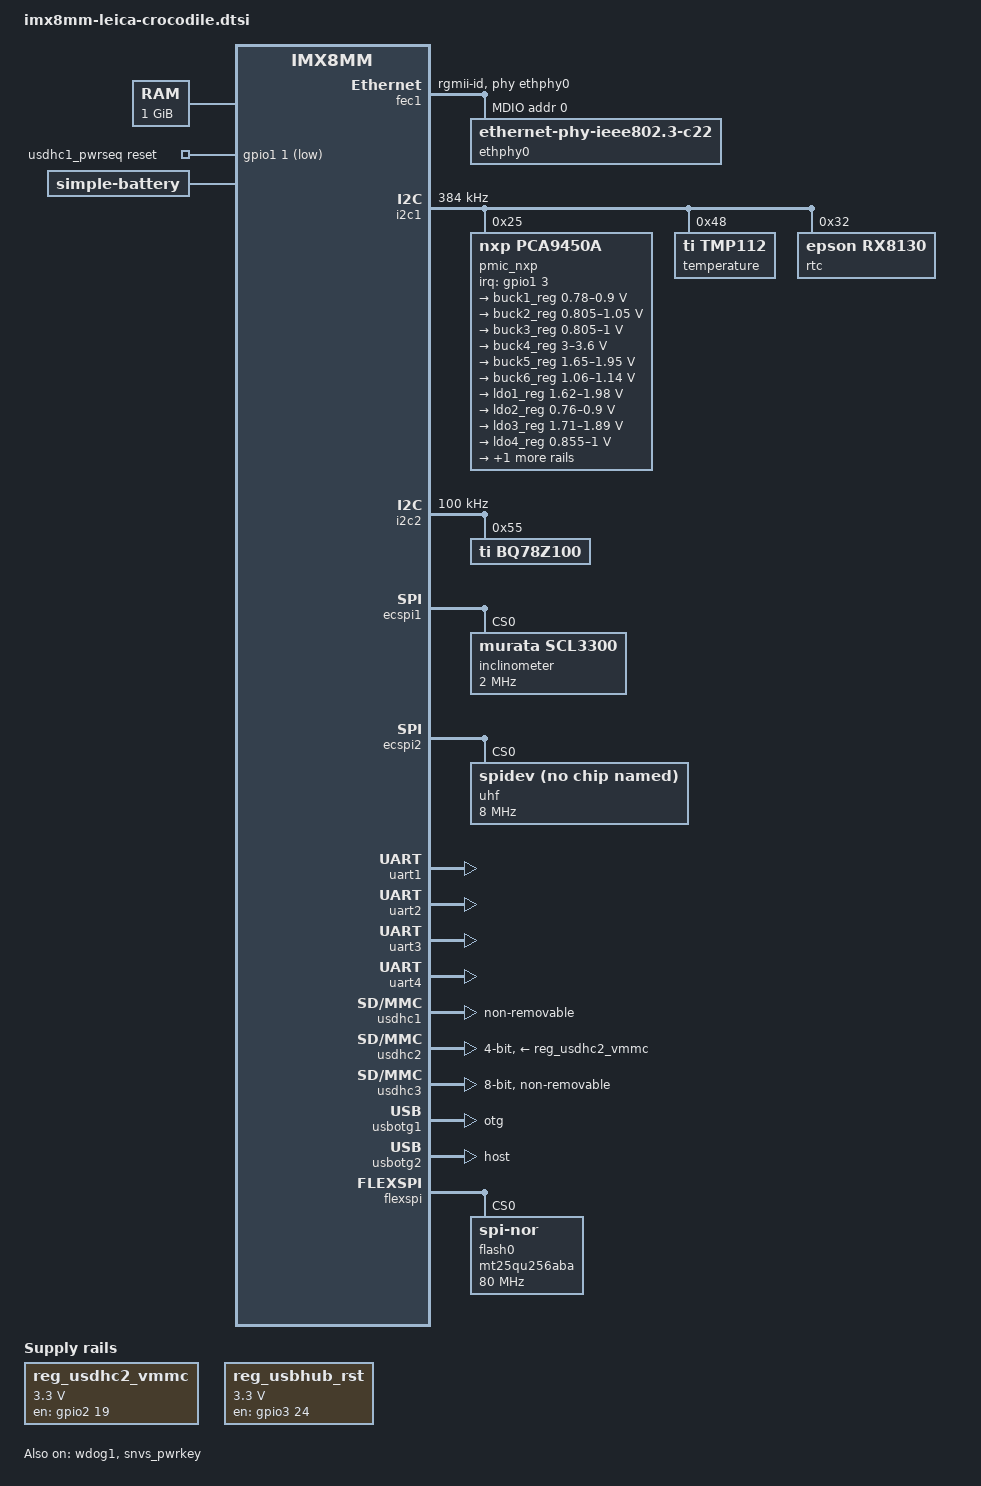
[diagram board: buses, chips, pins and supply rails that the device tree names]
// SPDX-License-Identifier: (GPL-2.0+ OR MIT)
/*
 * Copyright 2020 NXP
 * Copyright (C) 2021 Leica Geosystems AG
 */

/dts-v1/;

#include <dt-bindings/usb/pd.h>
#include "imx8mm.dtsi"

/ {
	compatible = "leica,crocodile", "fsl,imx8mm";

	chosen {
		stdout-path = &uart3;
	};

	memory@40000000 {
		device_type = "memory";
		reg = <0x0 0x40000000 0 0x40000000>;
	};

	reg_usdhc2_vmmc: regulator-usdhc2 {
		compatible = "regulator-fixed";
		pinctrl-names = "default";
		pinctrl-0 = <&pinctrl_reg_usdhc2_vmmc>;
		regulator-name = "VSD_3V3";
		regulator-min-microvolt = <3300000>;
		regulator-max-microvolt = <3300000>;

		/* CROCODILE_IMX8_SD2_RSTX */
		gpio = <&gpio2 19 GPIO_ACTIVE_HIGH>;

		enable-active-high;
	};

	reg_usbhub_rst: regulator-usbhub {
		compatible = "regulator-fixed";
		pinctrl-names = "default";
		pinctrl-0 = <&pinctrl_usbhub>;
		regulator-name = "USBHUB_RST_N";
		regulator-min-microvolt = <3300000>;
		regulator-max-microvolt = <3300000>;

		/* CROCODILE_MX8_USBHUB_RESETN */
		gpio = <&gpio3 24 GPIO_ACTIVE_HIGH>;
		regulator-always-on;
		enable-active-high;
	};

	usdhc1_pwrseq: usdhc1_pwrseq {
		compatible = "mmc-pwrseq-simple";

		/* CROCODILE_WIFIBT_PWR_DOWN */
		reset-gpios = <&gpio1 1 GPIO_ACTIVE_LOW>;
	};

	bat: internal-battery {
		compatible = "simple-battery";
		energy-full-design-microwatt-hours = <24840000>;
		charge-full-design-microamp-hours = <14450000>;
		voltage-min-design-microvolt = <2500000>;
		voltage-max-design-microvolt = <4200000>;
		charge-term-current-microamp = <150000>;
		constant-charge-current-max-microamp = <3400000>;
		constant-charge-voltage-max-microvolt = <4200000>;
		factory-internal-resistance-micro-ohms = <35>;
	};
};

&A53_0 {
	cpu-supply = <&buck2_reg>;
};

&A53_1 {
	cpu-supply = <&buck2_reg>;
};

&A53_2 {
	cpu-supply = <&buck2_reg>;
};

&A53_3 {
	cpu-supply = <&buck2_reg>;
};

&a53_opp_table {
	       /delete-node/ opp-1600000000;
	       /delete-node/ opp-1800000000;
};

&ddrc {
	operating-points-v2 = <&ddrc_opp_table>;

	ddrc_opp_table: opp-table {
		compatible = "operating-points-v2";

		opp-25M {
			opp-hz = /bits/ 64 <25000000>;
		};

		opp-100M {
			opp-hz = /bits/ 64 <100000000>;
		};

		opp-750M {
			opp-hz = /bits/ 64 <750000000>;
		};
	};
};

&fec1 {
	pinctrl-names = "default";
	pinctrl-0 = <&pinctrl_fec1>;
	phy-mode = "rgmii-id";
	phy-handle = <&ethphy0>;
	fsl,magic-packet;
	status = "okay";

	mdio {
		#address-cells = <1>;
		#size-cells = <0>;

		ethphy0: ethernet-phy@0 {
			compatible = "ethernet-phy-ieee802.3-c22";
			reg = <0>;
		};
	};
};

&i2c1 {
	clock-frequency = <384000>;
	pinctrl-names = "default";
	pinctrl-0 = <&pinctrl_i2c1>;
	status = "okay";

	pmic_nxp: pca9450@25 {
		compatible = "nxp,pca9450a";
		reg = <0x25>;
		pinctrl-0 = <&pinctrl_pmic>;
		pinctrl-names = "default";
		interrupt-parent = <&gpio1>;
		interrupts = <3 IRQ_TYPE_LEVEL_LOW>;

		regulators {
			// VDD_SOC_0V8
			buck1_reg: BUCK1 {
				regulator-name = "BUCK1";
				regulator-min-microvolt = <780000>;
				regulator-max-microvolt = <900000>;
				regulator-boot-on;
				regulator-always-on;
				regulator-ramp-delay = <3125>;
				nxp,dvs-standby-voltage = <800000>;
			};

			// VDD_ARM_0V9
			buck2_reg: BUCK2 {
				regulator-name = "BUCK2";
				regulator-min-microvolt = <805000>;
				regulator-max-microvolt = <1050000>;
				regulator-boot-on;
				regulator-always-on;
				regulator-ramp-delay = <3125>;
			};

			// VDD_DRAM&PU_0V9
			buck3_reg: BUCK3 {
				regulator-name = "BUCK3";
				regulator-min-microvolt = <805000>;
				regulator-max-microvolt = <1000000>;
				regulator-boot-on;
				regulator-always-on;
			};

			// VDD_3V3/NVCC_3V3
			buck4_reg: BUCK4 {
				regulator-name = "BUCK4";
				regulator-min-microvolt = <3000000>;
				regulator-max-microvolt = <3600000>;
				regulator-boot-on;
				regulator-always-on;
			};

			// VDD_1V8/NVCC_1V8
			buck5_reg: BUCK5 {
				regulator-name = "BUCK5";
				regulator-min-microvolt = <1650000>;
				regulator-max-microvolt = <1950000>;
				regulator-boot-on;
				regulator-always-on;
			};

			// NVCC_DRAM_1V1
			buck6_reg: BUCK6 {
				regulator-name = "BUCK6";
				regulator-min-microvolt = <1060000>;
				regulator-max-microvolt = <1140000>;
				regulator-boot-on;
				regulator-always-on;
			};

			// NVCC_SNVS_1V8
			ldo1_reg: LDO1 {
				regulator-name = "LDO1";
				regulator-min-microvolt = <1620000>;
				regulator-max-microvolt = <1980000>;
				regulator-boot-on;
				regulator-always-on;
			};

			// VDD_SNVS_0V8
			ldo2_reg: LDO2 {
				regulator-name = "LDO2";
				regulator-min-microvolt = <760000>;
				regulator-max-microvolt = <900000>;
				regulator-boot-on;
				regulator-always-on;
			};

			// VDDA_1V8
			ldo3_reg: LDO3 {
				regulator-name = "LDO3";
				regulator-min-microvolt = <1710000>;
				regulator-max-microvolt = <1890000>;
				regulator-boot-on;
				regulator-always-on;
			};

			// VDD_PHY_0V9
			ldo4_reg: LDO4 {
				regulator-name = "LDO4";
				regulator-min-microvolt = <855000>;
				regulator-max-microvolt = <1000000>;
				regulator-boot-on;
				regulator-always-on;
			};

			// NVCC_SD2
			ldo5_reg: LDO5 {
				regulator-name = "LDO5";
				regulator-min-microvolt = <1650000>;
				regulator-max-microvolt = <3600000>;
			};
		};
	};

	temperature: tmp112-sensor@48{
		compatible = "ti,tmp112";
		reg = <0x48>;
	};

	rtc@32 {
		compatible = "epson,rx8130";
		reg = <0x32>;
		aux-voltage-chargeable = <0>;
		wakeup-source;
	};
};

&i2c2 {
	clock-frequency = <100000>;
	pinctrl-names = "default";
	pinctrl-0 = <&pinctrl_i2c2>;
	status = "okay";

	bq78z100: fuel-gauge@55{
		compatible = "ti,bq78z100";
		reg = <0x55>;
		battery-name = "battery";
		monitored-battery = <&bat>;
	};
};

&ecspi1 {
	fsl,spi-num-chipselects = <1>;
	cs-gpios = <0>;
	pinctrl-names = "default";
	pinctrl-0 = <&pinctrl_ecspi1>;
	status = "okay";

	inclinometer@0 {
		compatible = "murata,scl3300";
		spi-max-frequency = <2000000>;
		reg = <0>;
	};
};

&ecspi2 {
	fsl,spi-num-chipselects = <1>;
	cs-gpios = <0>;
	pinctrl-names = "default";
	pinctrl-0 = <&pinctrl_ecspi2>;
	status = "okay";

	uhf@0 {
		compatible = "leica,spidev";
		spi-max-frequency = <8000000>;
		reg = <0>;
	};
};

/* GNSS module */
&uart1 {
	pinctrl-names = "default";
	pinctrl-0 = <&pinctrl_uart1>;
	status = "okay";
};

/* WiFi/BLE module */
&uart2 {
	pinctrl-names = "default";
	pinctrl-0 = <&pinctrl_uart2>;
	dmas = <&sdma1 24 4 0>, <&sdma1 25 4 0>;
	dma-names = "rx", "tx";
	assigned-clocks = <&clk IMX8MM_CLK_UART2>;
	assigned-clock-parents = <&clk IMX8MM_SYS_PLL1_80M>;
	uart-has-rtscts;
	status = "okay";
};

/* console */
&uart3 {
	pinctrl-names = "default";
	pinctrl-0 = <&pinctrl_uart3>;
	/delete-property/ dmas;
	/delete-property/ dma-names;
	status = "okay";
};

/* PP4 */
&uart4 {
	pinctrl-names = "default";
	pinctrl-0 = <&pinctrl_uart4>;
	status = "okay";
};

&usdhc1 {
	#address-cells = <1>;
	#size-cells = <0>;
	assigned-clocks = <&clk IMX8MM_CLK_USDHC1_ROOT>;
	assigned-clock-rates = <200000000>;
	pinctrl-names = "default";
	pinctrl-0 = <&pinctrl_usdhc1>;
	pinctrl-1 = <&pinctrl_usdhc1_100mhz>;
	pinctrl-2 = <&pinctrl_usdhc1_200mhz>;
	no-sd;
	non-removable;
	mmc-pwrseq = <&usdhc1_pwrseq>;
	status = "okay";
};

&usdhc2 { /* SD card */
	assigned-clocks = <&clk IMX8MM_CLK_USDHC2>;
	assigned-clock-rates = <200000000>;
	pinctrl-names = "default", "state_100mhz", "state_200mhz";
	pinctrl-0 = <&pinctrl_usdhc2>, <&pinctrl_usdhc2_gpio>;
	pinctrl-1 = <&pinctrl_usdhc2_100mhz>, <&pinctrl_usdhc2_gpio>;
	pinctrl-2 = <&pinctrl_usdhc2_200mhz>, <&pinctrl_usdhc2_gpio>;
	bus-width = <4>;
	vmmc-supply = <&reg_usdhc2_vmmc>;
	status = "okay";
};

&usdhc3 { /* eMMC */
	assigned-clocks = <&clk IMX8MM_CLK_USDHC3_ROOT>;
	assigned-clock-rates = <400000000>;
	pinctrl-names = "default", "state_100mhz", "state_200mhz";
	pinctrl-0 = <&pinctrl_usdhc3>;
	pinctrl-1 = <&pinctrl_usdhc3_100mhz>;
	pinctrl-2 = <&pinctrl_usdhc3_200mhz>;
	bus-width = <8>;
	non-removable;
	status = "okay";
};

&usbotg1 {
	dr_mode = "otg";
	disable-over-current;
	samsung,picophy-pre-emp-curr-control = <3>;
	samsung,picophy-dc-vol-level-adjust = <7>;
	ci-disable-lpm;
	status = "okay";
};

&usbotg2 {
	dr_mode = "host";
	disable-over-current;
	status = "okay";
};

&flexspi {
	pinctrl-names = "default";
	pinctrl-0 = <&pinctrl_flexspi0>;
	status = "okay";

	flash0: mt25qu256aba@0 {
		reg = <0>;
		#address-cells = <1>;
		#size-cells = <1>;
		compatible = "jedec,spi-nor";
		spi-max-frequency = <80000000>;
		spi-tx-bus-width = <4>;
		spi-rx-bus-width = <4>;
	};
};

&wdog1 {
	pinctrl-names = "default";
	pinctrl-0 = <&pinctrl_wdog>;
	fsl,ext-reset-output;
	status = "okay";
};

&snvs_pwrkey {
	status = "okay";
};

&gpio1 {
	gpio-line-names =
		"",
		"WIFIBT_PWR_DOWN",
		"", "", "", "", "",
		"", "", "",
		"IMX8_CPU_RDY",
		"", "",
		"IMX8_USB1_OC_SOURCEx",
		"",
		"IMX8_USB1_OC_SINKx";
};

&gpio2 {
	gpio-line-names =
		"", "", "", "", "",
		"", "", "", "", "",
		"", "", "", "", "",
		"", "", "", "", "",
		"LTE_EMERG_RST";
};

&gpio3 {
	gpio-line-names =
		"", "", "", "", "",
		"", "", "", "", "",
		"", "", "", "", "",
		"", "", "", "",
		"GNSS_RSTx",
		"LTE_ONx",
		"GNSS_EXTINT",
		"UHF_SDN",
		"UHF_GPIO_0",
		"",
		"LTE_FST_SHDN";
};

/* Used in M4 */
&gpio4 {
	status = "disabled";
};

/* Used in M4 */
&gpio5 {
	status = "disabled";
};

&iomuxc {
	pinctrl-names = "default";
	pinctrl-0 = <&pinctrl_gpio>;

	pinctrl_fec1: fec1grp {
		fsl,pins = <
			MX8MM_IOMUXC_ENET_MDC_ENET1_MDC		0x3	/*CROCODILE_ENET_MDC*/
			MX8MM_IOMUXC_ENET_MDIO_ENET1_MDIO		0x3	/*CROCODILE_ENET_MDIO*/
			MX8MM_IOMUXC_ENET_TD3_ENET1_RGMII_TD3		0x1f	/*CROCODILE_ENET_TD3*/
			MX8MM_IOMUXC_ENET_TD2_ENET1_RGMII_TD2		0x1f	/*CROCODILE_ENET_TD2*/
			MX8MM_IOMUXC_ENET_TD1_ENET1_RGMII_TD1		0x1f	/*CROCODILE_ENET_TD1*/
			MX8MM_IOMUXC_ENET_TD0_ENET1_RGMII_TD0		0x1f	/*CROCODILE_ENET_TD0*/
			MX8MM_IOMUXC_ENET_RD3_ENET1_RGMII_RD3		0x91	/*CROCODILE_ENET_RD3*/
			MX8MM_IOMUXC_ENET_RD2_ENET1_RGMII_RD2		0x91	/*CROCODILE_ENET_RD2*/
			MX8MM_IOMUXC_ENET_RD1_ENET1_RGMII_RD1		0x91	/*CROCODILE_ENET_RD1*/
			MX8MM_IOMUXC_ENET_RD0_ENET1_RGMII_RD0		0x91	/*CROCODILE_ENET_RD0*/
			MX8MM_IOMUXC_ENET_TXC_ENET1_RGMII_TXC		0x1f	/*CROCODILE_ENET_TXC*/
			MX8MM_IOMUXC_ENET_RXC_ENET1_RGMII_RXC		0x91	/*CROCODILE_ENET_RXC*/
			MX8MM_IOMUXC_ENET_RX_CTL_ENET1_RGMII_RX_CTL		0x91	/*CROCODILE_ENET_RX_CTL*/
			MX8MM_IOMUXC_ENET_TX_CTL_ENET1_RGMII_TX_CTL		0x1f	/*CROCODILE_ENET_TX_CTL*/
			MX8MM_IOMUXC_SAI1_TXFS_GPIO4_IO10		0x19	/*CROCODILE_DBG_ENET_RSTX*/
		>;
	};

	/*
	 * Reserved bit 30 in value for Pad Control Register is used to set
	 * SION (bit 4) in Pad Mux Register.
	 * Setting SION to "1" forces the input path to be active regardless
	 * of the value driven by the corresponding module and is required for
	 * I2C.
	 */

	pinctrl_i2c1: i2c1grp {
		fsl,pins = <
			MX8MM_IOMUXC_I2C1_SCL_I2C1_SCL	0x400001c3	/*CROCODILE_IMX8_I2C_1_SCL*/
			MX8MM_IOMUXC_I2C1_SDA_I2C1_SDA	0x400001c3	/*CROCODILE_IMX8_I2C_1_SDA*/
		>;
	};

	pinctrl_i2c2: i2c2grp {
		fsl,pins = <
			MX8MM_IOMUXC_I2C2_SCL_I2C2_SCL	0x400001c0	/*CROCODILE_IMX8_I2C_2_SCL*/
			MX8MM_IOMUXC_I2C2_SDA_I2C2_SDA	0x400001c0	/*CROCODILE_IMX8_I2C_2_SDA*/
		>;
	};

	pinctrl_ecspi1: ecspi1grp {
		fsl,pins = <
			MX8MM_IOMUXC_ECSPI1_MISO_ECSPI1_MISO	0x0	/*CROCODILE_IMX8_ECSPI1_MISO*/
			MX8MM_IOMUXC_ECSPI1_MOSI_ECSPI1_MOSI	0x0	/*CROCODILE_IMX8_ECSPI1_MOSI*/
			MX8MM_IOMUXC_ECSPI1_SCLK_ECSPI1_SCLK	0x0	/*CROCODILE_IMX8_ECSPI1_SCLK*/
			MX8MM_IOMUXC_ECSPI1_SS0_ECSPI1_SS0	0x0	/*CROCODILE_IMX8_ECSPI1_SS0*/
		>;
	};

	pinctrl_ecspi2: ecspi2grp {
		fsl,pins = <
			MX8MM_IOMUXC_ECSPI2_MISO_ECSPI2_MISO	0x0	/*CROCODILE_IMX8_ECSPI2_MISO*/
			MX8MM_IOMUXC_ECSPI2_MOSI_ECSPI2_MOSI	0x0	/*CROCODILE_IMX8_ECSPI2_MOSI*/
			MX8MM_IOMUXC_ECSPI2_SCLK_ECSPI2_SCLK	0x0	/*CROCODILE_IMX8_ECSPI2_SCLK*/
			MX8MM_IOMUXC_ECSPI2_SS0_ECSPI2_SS0	0x0	/*CROCODILE_IMX8_ECSPI2_SS0*/
		>;
	};

	pinctrl_pmic: pmicirqgrp {
		fsl,pins = <
			MX8MM_IOMUXC_GPIO1_IO03_GPIO1_IO3		0x141	/*CROCODILE_PMIC_NINT*/
		>;
	};

	pinctrl_usdhc1: usdhc1grp {
		fsl,pins = <
			MX8MM_IOMUXC_SD1_CLK_USDHC1_CLK		0x190	/*CROCODILE_IMX8_SD1_CLK*/
			MX8MM_IOMUXC_SD1_CMD_USDHC1_CMD		0x1d0	/*CROCODILE_IMX8_SD1_CMD*/
			MX8MM_IOMUXC_SD1_DATA0_USDHC1_DATA0		0x1d0	/*CROCODILE_IMX8_SD1_DATA0*/
			MX8MM_IOMUXC_SD1_DATA1_USDHC1_DATA1		0x1d0	/*CROCODILE_IMX8_SD1_DATA1*/
			MX8MM_IOMUXC_SD1_DATA2_USDHC1_DATA2		0x1d0	/*CROCODILE_IMX8_SD1_DATA2*/
			MX8MM_IOMUXC_SD1_DATA3_USDHC1_DATA3		0x1d0	/*CROCODILE_IMX8_SD1_DATA3*/
		>;
	};

	pinctrl_usdhc1_100mhz: usdhc1-100mhzgrp {
		fsl,pins = <
			MX8MM_IOMUXC_SD1_CLK_USDHC1_CLK		0x194	/*CROCODILE_IMX8_SD1_CLK*/
			MX8MM_IOMUXC_SD1_CMD_USDHC1_CMD		0x1d4	/*CROCODILE_IMX8_SD1_CMD*/
			MX8MM_IOMUXC_SD1_DATA0_USDHC1_DATA0		0x1d4	/*CROCODILE_IMX8_SD1_DATA0*/
			MX8MM_IOMUXC_SD1_DATA1_USDHC1_DATA1		0x1d4	/*CROCODILE_IMX8_SD1_DATA1*/
			MX8MM_IOMUXC_SD1_DATA2_USDHC1_DATA2		0x1d4	/*CROCODILE_IMX8_SD1_DATA2*/
			MX8MM_IOMUXC_SD1_DATA3_USDHC1_DATA3		0x1d4	/*CROCODILE_IMX8_SD1_DATA3*/
		>;
	};

	pinctrl_usdhc1_200mhz: usdhc1-200mhzgrp {
		fsl,pins = <
			MX8MM_IOMUXC_SD1_CLK_USDHC1_CLK		0x196	/*CROCODILE_IMX8_SD1_CLK*/
			MX8MM_IOMUXC_SD1_CMD_USDHC1_CMD		0x1d6	/*CROCODILE_IMX8_SD1_CMD*/
			MX8MM_IOMUXC_SD1_DATA0_USDHC1_DATA0		0x1d6	/*CROCODILE_IMX8_SD1_DATA0*/
			MX8MM_IOMUXC_SD1_DATA1_USDHC1_DATA1		0x1d6	/*CROCODILE_IMX8_SD1_DATA1*/
			MX8MM_IOMUXC_SD1_DATA2_USDHC1_DATA2		0x1d6	/*CROCODILE_IMX8_SD1_DATA2*/
			MX8MM_IOMUXC_SD1_DATA3_USDHC1_DATA3		0x1d6	/*CROCODILE_IMX8_SD1_DATA3*/
			>;
		};

	pinctrl_reg_usdhc2_vmmc: regusdhc2vmmcgrp {
		fsl,pins = <
			MX8MM_IOMUXC_SD2_RESET_B_GPIO2_IO19		0x41	/*CROCODILE_IMX8_SD2_RSTX*/
		>;
	};

	pinctrl_usdhc2_gpio: usdhc2grpgpiogrp {
		fsl,pins = <
			MX8MM_IOMUXC_SD2_CD_B_USDHC2_CD_B		0x41	/*CROCODILE_IMX8_SD2_NDET*/
		>;
	};

	pinctrl_usdhc2: usdhc2grp {
		fsl,pins = <
			MX8MM_IOMUXC_SD2_CLK_USDHC2_CLK		0x190	/*CROCODILE_IMX8_SD2_CLK*/
			MX8MM_IOMUXC_SD2_CMD_USDHC2_CMD		0x1d0	/*CROCODILE_IMX8_SD2_CMD*/
			MX8MM_IOMUXC_SD2_DATA0_USDHC2_DATA0	0x1d0	/*CROCODILE_IMX8_SD2_DATA0*/
			MX8MM_IOMUXC_SD2_DATA1_USDHC2_DATA1	0x1d0	/*CROCODILE_IMX8_SD2_DATA1*/
			MX8MM_IOMUXC_SD2_DATA2_USDHC2_DATA2	0x1d0	/*CROCODILE_IMX8_SD2_DATA2*/
			MX8MM_IOMUXC_SD2_DATA3_USDHC2_DATA3	0x1d0	/*CROCODILE_IMX8_SD2_DATA3*/
			MX8MM_IOMUXC_GPIO1_IO04_USDHC2_VSELECT		0x1d0	/*CROCODILE_SD2_VSEL*/
		>;
	};

	pinctrl_usdhc2_100mhz: usdhc2-100mhzgrp {
		fsl,pins = <
			MX8MM_IOMUXC_SD2_CLK_USDHC2_CLK		0x194	/*CROCODILE_IMX8_SD2_CLK*/
			MX8MM_IOMUXC_SD2_CMD_USDHC2_CMD		0x1d4	/*CROCODILE_IMX8_SD2_CMD*/
			MX8MM_IOMUXC_SD2_DATA0_USDHC2_DATA0	0x1d4	/*CROCODILE_IMX8_SD2_DATA0*/
			MX8MM_IOMUXC_SD2_DATA1_USDHC2_DATA1	0x1d4	/*CROCODILE_IMX8_SD2_DATA1*/
			MX8MM_IOMUXC_SD2_DATA2_USDHC2_DATA2	0x1d4	/*CROCODILE_IMX8_SD2_DATA2*/
			MX8MM_IOMUXC_SD2_DATA3_USDHC2_DATA3	0x1d4	/*CROCODILE_IMX8_SD2_DATA3*/
			MX8MM_IOMUXC_GPIO1_IO04_USDHC2_VSELECT		0x1d0	/*CROCODILE_SD2_VSEL*/
		>;
	};

	pinctrl_usdhc2_200mhz: usdhc2-200mhzgrp {
		fsl,pins = <
			MX8MM_IOMUXC_SD2_CLK_USDHC2_CLK		0x196	/*CROCODILE_IMX8_SD2_CLK*/
			MX8MM_IOMUXC_SD2_CMD_USDHC2_CMD		0x1d6	/*CROCODILE_IMX8_SD2_CMD*/
			MX8MM_IOMUXC_SD2_DATA0_USDHC2_DATA0	0x1d6	/*CROCODILE_IMX8_SD2_DATA0*/
			MX8MM_IOMUXC_SD2_DATA1_USDHC2_DATA1	0x1d6	/*CROCODILE_IMX8_SD2_DATA1*/
			MX8MM_IOMUXC_SD2_DATA2_USDHC2_DATA2	0x1d6	/*CROCODILE_IMX8_SD2_DATA2*/
			MX8MM_IOMUXC_SD2_DATA3_USDHC2_DATA3	0x1d6	/*CROCODILE_IMX8_SD2_DATA3*/
			MX8MM_IOMUXC_GPIO1_IO04_USDHC2_VSELECT		0x1d0	/*CROCODILE_SD2_VSEL*/
		>;
	};

	pinctrl_usdhc3: usdhc3grp {
		fsl,pins = <
			MX8MM_IOMUXC_NAND_WE_B_USDHC3_CLK		0x190	/*CROCODILE_SD3_CLK*/
			MX8MM_IOMUXC_NAND_WP_B_USDHC3_CMD		0x1d0	/*CROCODILE_SD3_CMD*/
			MX8MM_IOMUXC_NAND_DATA04_USDHC3_DATA0		0x1d0	/*CROCODILE_SD3_DATA0*/
			MX8MM_IOMUXC_NAND_DATA05_USDHC3_DATA1		0x1d0	/*CROCODILE_SD3_DATA1*/
			MX8MM_IOMUXC_NAND_DATA06_USDHC3_DATA2		0x1d0	/*CROCODILE_SD3_DATA2*/
			MX8MM_IOMUXC_NAND_DATA07_USDHC3_DATA3		0x1d0	/*CROCODILE_SD3_DATA3*/
			MX8MM_IOMUXC_NAND_RE_B_USDHC3_DATA4		0x1d0	/*CROCODILE_SD3_DATA4*/
			MX8MM_IOMUXC_NAND_CE2_B_USDHC3_DATA5		0x1d0	/*CROCODILE_SD3_DATA5*/
			MX8MM_IOMUXC_NAND_CE3_B_USDHC3_DATA6		0x1d0	/*CROCODILE_SD3_DATA6*/
			MX8MM_IOMUXC_NAND_CLE_USDHC3_DATA7		0x1d0	/*CROCODILE_SD3_DATA7*/
			MX8MM_IOMUXC_NAND_CE1_B_USDHC3_STROBE		0x190	/*CROCODILE_SD3_STROBE*/
		>;
	};

	pinctrl_usdhc3_100mhz: usdhc3-100mhzgrp {
		fsl,pins = <
			MX8MM_IOMUXC_NAND_WE_B_USDHC3_CLK		0x194	/*CROCODILE_SD3_CLK*/
			MX8MM_IOMUXC_NAND_WP_B_USDHC3_CMD		0x1d4	/*CROCODILE_SD3_CMD*/
			MX8MM_IOMUXC_NAND_DATA04_USDHC3_DATA0		0x1d4	/*CROCODILE_SD3_DATA0*/
			MX8MM_IOMUXC_NAND_DATA05_USDHC3_DATA1		0x1d4	/*CROCODILE_SD3_DATA1*/
			MX8MM_IOMUXC_NAND_DATA06_USDHC3_DATA2		0x1d4	/*CROCODILE_SD3_DATA2*/
			MX8MM_IOMUXC_NAND_DATA07_USDHC3_DATA3		0x1d4	/*CROCODILE_SD3_DATA3*/
			MX8MM_IOMUXC_NAND_RE_B_USDHC3_DATA4		0x1d4	/*CROCODILE_SD3_DATA4*/
			MX8MM_IOMUXC_NAND_CE2_B_USDHC3_DATA5		0x1d4	/*CROCODILE_SD3_DATA5*/
			MX8MM_IOMUXC_NAND_CE3_B_USDHC3_DATA6		0x1d4	/*CROCODILE_SD3_DATA6*/
			MX8MM_IOMUXC_NAND_CLE_USDHC3_DATA7		0x1d4	/*CROCODILE_SD3_DATA7*/
			MX8MM_IOMUXC_NAND_CE1_B_USDHC3_STROBE		0x194	/*CROCODILE_SD3_STROBE*/
		>;
	};

	pinctrl_usdhc3_200mhz: usdhc3-200mhzgrp {
		fsl,pins = <
			MX8MM_IOMUXC_NAND_WE_B_USDHC3_CLK		0x196	/*CROCODILE_SD3_CLK*/
			MX8MM_IOMUXC_NAND_WP_B_USDHC3_CMD		0x1d6	/*CROCODILE_SD3_CMD*/
			MX8MM_IOMUXC_NAND_DATA04_USDHC3_DATA0		0x1d6	/*CROCODILE_SD3_DATA0*/
			MX8MM_IOMUXC_NAND_DATA05_USDHC3_DATA1		0x1d6	/*CROCODILE_SD3_DATA1*/
			MX8MM_IOMUXC_NAND_DATA06_USDHC3_DATA2		0x1d6	/*CROCODILE_SD3_DATA2*/
			MX8MM_IOMUXC_NAND_DATA07_USDHC3_DATA3		0x1d6	/*CROCODILE_SD3_DATA3*/
			MX8MM_IOMUXC_NAND_RE_B_USDHC3_DATA4		0x1d6	/*CROCODILE_SD3_DATA4*/
			MX8MM_IOMUXC_NAND_CE2_B_USDHC3_DATA5		0x1d6	/*CROCODILE_SD3_DATA5*/
			MX8MM_IOMUXC_NAND_CE3_B_USDHC3_DATA6		0x1d6	/*CROCODILE_SD3_DATA6*/
			MX8MM_IOMUXC_NAND_CLE_USDHC3_DATA7		0x1d6	/*CROCODILE_SD3_DATA7*/
			MX8MM_IOMUXC_NAND_CE1_B_USDHC3_STROBE		0x196	/*CROCODILE_SD3_STROBE*/
		>;
	};

	pinctrl_uart1: uart1grp {
		fsl,pins = <
			MX8MM_IOMUXC_SAI2_RXC_UART1_DCE_RX	0x00	/*CROCODILE_IMX8_UART1_RXD*/
			MX8MM_IOMUXC_SAI2_RXFS_UART1_DCE_TX	0x20	/*CROCODILE_IMX8_UART1_TXD*/
		>;
	};

	pinctrl_uart2: uart2grp {
		fsl,pins = <
			MX8MM_IOMUXC_SAI3_TXFS_UART2_DCE_RX	0x140	/*CROCODILE_IMX8_UART2_RXD*/
			MX8MM_IOMUXC_SAI3_TXC_UART2_DCE_TX	0x140	/*CROCODILE_IMX8_UART2_TXD*/
			MX8MM_IOMUXC_SAI3_RXC_UART2_DCE_CTS_B	0x140	/*CROCODILE_IMX8_UART2_CTS*/
			MX8MM_IOMUXC_SAI3_RXD_UART2_DCE_RTS_B	0x140	/*CROCODILE_IMX8_UART2_RTS*/
		>;
	};

	pinctrl_uart3: uart3grp {
		fsl,pins = <
			MX8MM_IOMUXC_UART3_RXD_UART3_DCE_RX	0x000	/*CROCODILE_IMX8_UART3_RXD*/
			MX8MM_IOMUXC_UART3_TXD_UART3_DCE_TX	0x140	/*CROCODILE_IMX8_UART3_TXD*/
		>;
	};

	pinctrl_uart4: uart4grp {
		fsl,pins = <
			MX8MM_IOMUXC_UART4_RXD_UART4_DCE_RX	0x140	/*CROCODILE_IMX8_UART4_RXD*/
			MX8MM_IOMUXC_UART4_TXD_UART4_DCE_TX	0x140	/*CROCODILE_IMX8_UART4_TXD*/
		>;
	};

	pinctrl_usbhub: usbhubgrp {
		fsl,pins = <
			MX8MM_IOMUXC_SAI5_RXD3_GPIO3_IO24	0x36	/*CROCODILE_MX8_USBHUB_RESETN*/
		>;
	};

	pinctrl_flexspi0: flexspi0grp {
		fsl,pins = <
			MX8MM_IOMUXC_NAND_ALE_QSPI_A_SCLK		0x1c2	/*CROCODILE_QSPIA_SCLK*/
			MX8MM_IOMUXC_NAND_CE0_B_QSPI_A_SS0_B		0x82	/*CROCODILE_QSPIA_NSS0*/
			MX8MM_IOMUXC_NAND_DATA00_QSPI_A_DATA0		0x82	/*CROCODILE_QSPIA_DATA0*/
			MX8MM_IOMUXC_NAND_DATA01_QSPI_A_DATA1		0x82	/*CROCODILE_QSPIA_DATA1*/
			MX8MM_IOMUXC_NAND_DATA02_QSPI_A_DATA2		0x82	/*CROCODILE_QSPIA_DATA2*/
			MX8MM_IOMUXC_NAND_DATA03_QSPI_A_DATA3		0x82	/*CROCODILE_QSPIA_DATA3*/
		>;
	};

	pinctrl_wdog: wdoggrp {
		fsl,pins = <
			MX8MM_IOMUXC_GPIO1_IO02_WDOG1_WDOG_B		0x166	/*CROCODILE_WDOG_B*/
		>;
	};

	pinctrl_gpio: gpiogrp {
		fsl,pins = <
			MX8MM_IOMUXC_SAI5_RXC_GPIO3_IO20		0x00	/*CROCODILE_LTE_ONX*/
			MX8MM_IOMUXC_SD2_WP_GPIO2_IO20		0x00	/*CROCODILE_LTE_EMERG_RST*/
			MX8MM_IOMUXC_SAI5_MCLK_GPIO3_IO25		0x20	/*CROCODILE_LTE_FST_SHDN*/
			MX8MM_IOMUXC_SAI5_RXFS_GPIO3_IO19		0x00	/*CROCODILE_GNSS_RSTX*/
			MX8MM_IOMUXC_SAI5_RXD0_GPIO3_IO21		0x00	/*CROCODILE_GNSS_EXTINT*/
			MX8MM_IOMUXC_SAI5_RXD1_GPIO3_IO22		0x00	/*CROCODILE_UHF_SDN*/
			MX8MM_IOMUXC_SAI5_RXD2_GPIO3_IO23		0x100	/*CROCODILE_UHF_GPIO_0*/
			MX8MM_IOMUXC_GPIO1_IO01_GPIO1_IO1	0x00	/*CROCODILE_WIFIBT_PWR_DOWN*/
			MX8MM_IOMUXC_GPIO1_IO13_GPIO1_IO13	0x00	/*CROCODILE_IMX8_USB1_OC_SOURCEx*/
			MX8MM_IOMUXC_GPIO1_IO15_GPIO1_IO15	0x00	/*CROCODILE_IMX8_USB1_OC_SINKx*/
			MX8MM_IOMUXC_GPIO1_IO10_GPIO1_IO10		0x100	/*CROCODILE_IMX8_CPU_RDY*/
		>;
	};
};
